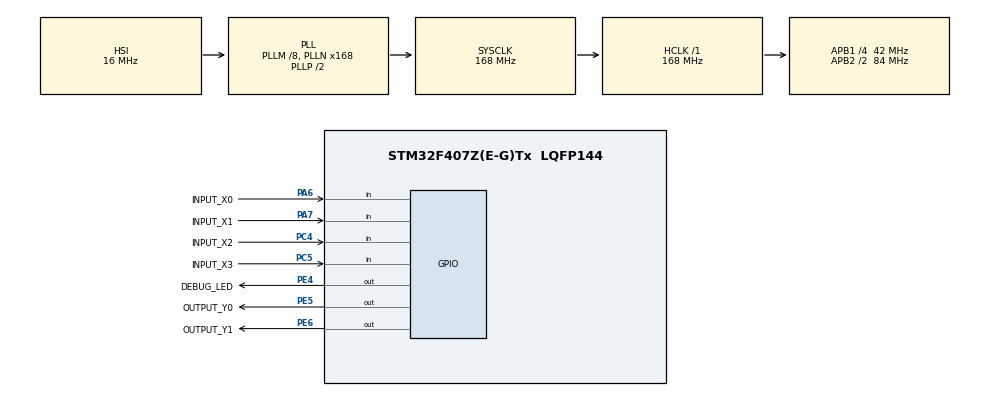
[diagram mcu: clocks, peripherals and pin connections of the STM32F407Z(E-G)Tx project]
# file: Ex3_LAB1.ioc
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Mcu.Family=STM32F4
Mcu.Name=STM32F407Z(E-G)Tx
Mcu.Package=LQFP144
NVIC.PriorityGroup=NVIC_PRIORITYGROUP_4
PA13.Mode=Serial_Wire
PA13.Signal=SYS_JTMS-SWDIO
PA14.Mode=Serial_Wire
PA14.Signal=SYS_JTCK-SWCLK
PA6.GPIO_Label=INPUT_X0
PA6.Signal=GPIO_Input
PA7.GPIO_Label=INPUT_X1
PA7.Signal=GPIO_Input
PC4.GPIO_Label=INPUT_X2
PC4.Signal=GPIO_Input
PC5.GPIO_Label=INPUT_X3
PC5.Signal=GPIO_Input
PE4.GPIO_Label=DEBUG_LED
PE4.Signal=GPIO_Output
PE5.GPIO_Label=OUTPUT_Y0
PE5.Signal=GPIO_Output
PE6.GPIO_Label=OUTPUT_Y1
PE6.Signal=GPIO_Output
PH0-OSC_IN.Mode=HSE-External-Oscillator
PH0-OSC_IN.Signal=RCC_OSC_IN
PH1-OSC_OUT.Mode=HSE-External-Oscillator
PH1-OSC_OUT.Signal=RCC_OSC_OUT
ProjectManager.HeapSize=0x200
ProjectManager.StackSize=0x400
ProjectManager.TargetToolchain=STM32CubeIDE
RCC.48MHZClocksFreq_Value=84000000
RCC.AHBFreq_Value=168000000
RCC.APB1CLKDivider=RCC_HCLK_DIV4
RCC.APB1Freq_Value=42000000
RCC.APB1TimFreq_Value=84000000
RCC.APB2CLKDivider=RCC_HCLK_DIV2
RCC.APB2Freq_Value=84000000
RCC.APB2TimFreq_Value=168000000
RCC.CortexFreq_Value=168000000
RCC.HCLKFreq_Value=168000000
RCC.HSE_VALUE=8000000
RCC.HSI_VALUE=16000000
RCC.LSE_VALUE=32768
RCC.PLLM=8
RCC.PLLN=168
RCC.SYSCLKFreq_VALUE=168000000
RCC.SYSCLKSource=RCC_SYSCLKSOURCE_PLLCLK
RCC.VCOOutputFreq_Value=336000000
board=custom

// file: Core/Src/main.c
/* USER CODE BEGIN Header */
/**
  ******************************************************************************
  * @file           : main.c
  * @brief          : Main program body
  ******************************************************************************
  * @attention
  *
  * <h2><center>&copy; Copyright (c) 2024 STMicroelectronics.
  * All rights reserved.</center></h2>
  *
  * This software component is licensed by ST under BSD 3-Clause license,
  * the "License"; You may not use this file except in compliance with the
  * License. You may obtain a copy of the License at:
  *                        opensource.org/licenses/BSD-3-Clause
  *
  ******************************************************************************
  */
/* USER CODE END Header */
#include "main.h"

void SystemClock_Config(void);
static void MX_GPIO_Init(void);

int main(void)
{

  /* MCU Configuration--------------------------------------------------------*/

  /* Reset of all peripherals, Initializes the Flash interface and the Systick. */
  HAL_Init();

  /* Configure the system clock */
  SystemClock_Config();

  /* Initialize all configured peripherals */
  MX_GPIO_Init();

  /* Infinite loop */
  /* USER CODE BEGIN WHILE */
  enum State {
	  GREEN,
	  YELLOW,
	  RED,
  }; //Initialize 3 states for the traffic light
  enum State currentState = RED;
  int count = 5;
  while (1)
  {
	  HAL_GPIO_WritePin(DEBUG_LED_GPIO_Port, DEBUG_LED_Pin, 0);
	  HAL_GPIO_WritePin(OUTPUT_Y0_GPIO_Port, OUTPUT_Y0_Pin, 0);
	  HAL_GPIO_WritePin(OUTPUT_Y1_GPIO_Port, OUTPUT_Y1_Pin, 0);  //ALL LIGHTS ARE OFF.
	  switch (currentState) {
	  case RED:
		  HAL_GPIO_WritePin(DEBUG_LED_GPIO_Port, DEBUG_LED_Pin, 1); //Turn on RED Light in 5s
		  count--;
		  if (count <= 0) {
			  currentState = GREEN;
			  count = 3;
		  }
		  break;
	  case GREEN:
		  HAL_GPIO_WritePin(OUTPUT_Y0_GPIO_Port, OUTPUT_Y0_Pin, 1); //Turn on GREEN light in 3s
		  count--;
		  if (count <= 0) {
			  currentState = YELLOW;
			  count = 1;
		  }
		  break;
	  case YELLOW:
		  HAL_GPIO_WritePin(OUTPUT_Y1_GPIO_Port, OUTPUT_Y1_Pin, 1); //Turn on YELLOW light in 1s
		  count--;
		  if (count <= 0) {
			  currentState = RED;
			  count = 5;
		  }
		  break;
	  }
	  HAL_Delay(1000);
    /* USER CODE END WHILE */

  }
}

void SystemClock_Config(void)
{
  RCC_OscInitTypeDef RCC_OscInitStruct = {0};
  RCC_ClkInitTypeDef RCC_ClkInitStruct = {0};

  /** Configure the main internal regulator output voltage
  */
  __HAL_RCC_PWR_CLK_ENABLE();
  __HAL_PWR_VOLTAGESCALING_CONFIG(PWR_REGULATOR_VOLTAGE_SCALE1);
  /** Initializes the RCC Oscillators according to the specified parameters
  * in the RCC_OscInitTypeDef structure.
  */
  RCC_OscInitStruct.OscillatorType = RCC_OSCILLATORTYPE_HSI;
  RCC_OscInitStruct.HSIState = RCC_HSI_ON;
  RCC_OscInitStruct.HSICalibrationValue = RCC_HSICALIBRATION_DEFAULT;
  RCC_OscInitStruct.PLL.PLLState = RCC_PLL_ON;
  RCC_OscInitStruct.PLL.PLLSource = RCC_PLLSOURCE_HSI;
  RCC_OscInitStruct.PLL.PLLM = 8;
  RCC_OscInitStruct.PLL.PLLN = 168;
  RCC_OscInitStruct.PLL.PLLP = RCC_PLLP_DIV2;
  RCC_OscInitStruct.PLL.PLLQ = 4;
  if (HAL_RCC_OscConfig(&RCC_OscInitStruct) != HAL_OK)
  {
    Error_Handler();
  }
  /** Initializes the CPU, AHB and APB buses clocks
  */
  RCC_ClkInitStruct.ClockType = RCC_CLOCKTYPE_HCLK|RCC_CLOCKTYPE_SYSCLK
                              |RCC_CLOCKTYPE_PCLK1|RCC_CLOCKTYPE_PCLK2;
  RCC_ClkInitStruct.SYSCLKSource = RCC_SYSCLKSOURCE_PLLCLK;
  RCC_ClkInitStruct.AHBCLKDivider = RCC_SYSCLK_DIV1;
  RCC_ClkInitStruct.APB1CLKDivider = RCC_HCLK_DIV4;
  RCC_ClkInitStruct.APB2CLKDivider = RCC_HCLK_DIV2;

  if (HAL_RCC_ClockConfig(&RCC_ClkInitStruct, FLASH_LATENCY_5) != HAL_OK)
  {
    Error_Handler();
  }
}

static void MX_GPIO_Init(void)
{
  GPIO_InitTypeDef GPIO_InitStruct = {0};

  /* GPIO Ports Clock Enable */
  __HAL_RCC_GPIOE_CLK_ENABLE();
  __HAL_RCC_GPIOH_CLK_ENABLE();
  __HAL_RCC_GPIOA_CLK_ENABLE();
  __HAL_RCC_GPIOC_CLK_ENABLE();

  /*Configure GPIO pin Output Level */
  HAL_GPIO_WritePin(GPIOE, DEBUG_LED_Pin|OUTPUT_Y0_Pin|OUTPUT_Y1_Pin, GPIO_PIN_RESET);

  /*Configure GPIO pins : DEBUG_LED_Pin OUTPUT_Y0_Pin OUTPUT_Y1_Pin */
  GPIO_InitStruct.Pin = DEBUG_LED_Pin|OUTPUT_Y0_Pin|OUTPUT_Y1_Pin;
  GPIO_InitStruct.Mode = GPIO_MODE_OUTPUT_PP;
  GPIO_InitStruct.Pull = GPIO_NOPULL;
  GPIO_InitStruct.Speed = GPIO_SPEED_FREQ_LOW;
  HAL_GPIO_Init(GPIOE, &GPIO_InitStruct);

  /*Configure GPIO pins : INPUT_X0_Pin INPUT_X1_Pin */
  GPIO_InitStruct.Pin = INPUT_X0_Pin|INPUT_X1_Pin;
  GPIO_InitStruct.Mode = GPIO_MODE_INPUT;
  GPIO_InitStruct.Pull = GPIO_NOPULL;
  HAL_GPIO_Init(GPIOA, &GPIO_InitStruct);

  /*Configure GPIO pins : INPUT_X2_Pin INPUT_X3_Pin */
  GPIO_InitStruct.Pin = INPUT_X2_Pin|INPUT_X3_Pin;
  GPIO_InitStruct.Mode = GPIO_MODE_INPUT;
  GPIO_InitStruct.Pull = GPIO_NOPULL;
  HAL_GPIO_Init(GPIOC, &GPIO_InitStruct);

}

void Error_Handler(void)
{
  __disable_irq();
  while (1)
  {
  }
}

/************************ (C) COPYRIGHT STMicroelectronics *****END OF FILE****/
